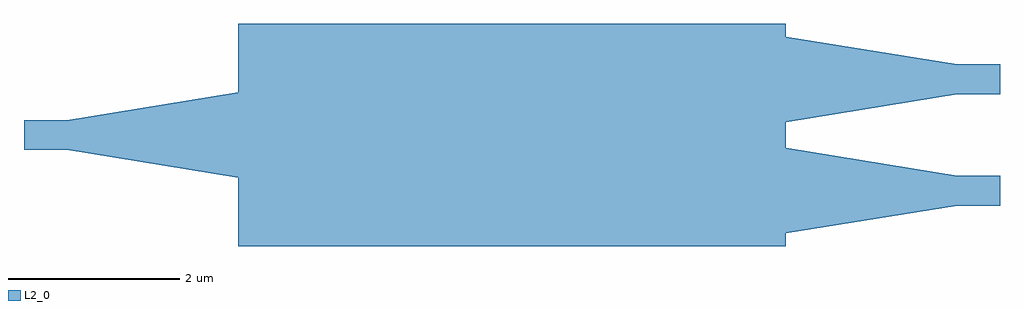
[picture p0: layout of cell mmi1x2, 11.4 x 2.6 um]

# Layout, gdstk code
import gdstk
lib = gdstk.Library(unit=1e-6, precision=1e-09)
def R(c, l, rs):  # rectangles x0, y0, x1, y1
    for r in rs: c.add(gdstk.rectangle(r[:2], r[2:], *l))
def P(c, l, *ps):  # polygons
    for p in ps: c.add(gdstk.Polygon(p, *l))
L2_0 = (2, 0)

mmi1x2 = lib.new_cell('mmi1x2')
R(mmi1x2, L2_0, [(-3.2,-1.3,3.2,1.3), (5.2,-0.825,5.7,-0.475), (-5.7,-0.175,-5.2,0.175), (5.2,0.475,5.7,0.825)])
P(mmi1x2, L2_0, [(3.2,-1.15),(3.2,-0.15),(5.2,-0.475),(5.2,-0.825)],
  [(3.2,0.15),(3.2,1.15),(5.2,0.825),(5.2,0.475)],
  [(-3.2,-0.5),(-5.2,-0.175),(-5.2,0.175),(-3.2,0.5)])

lib.write_gds('mmi1x2.gds')
